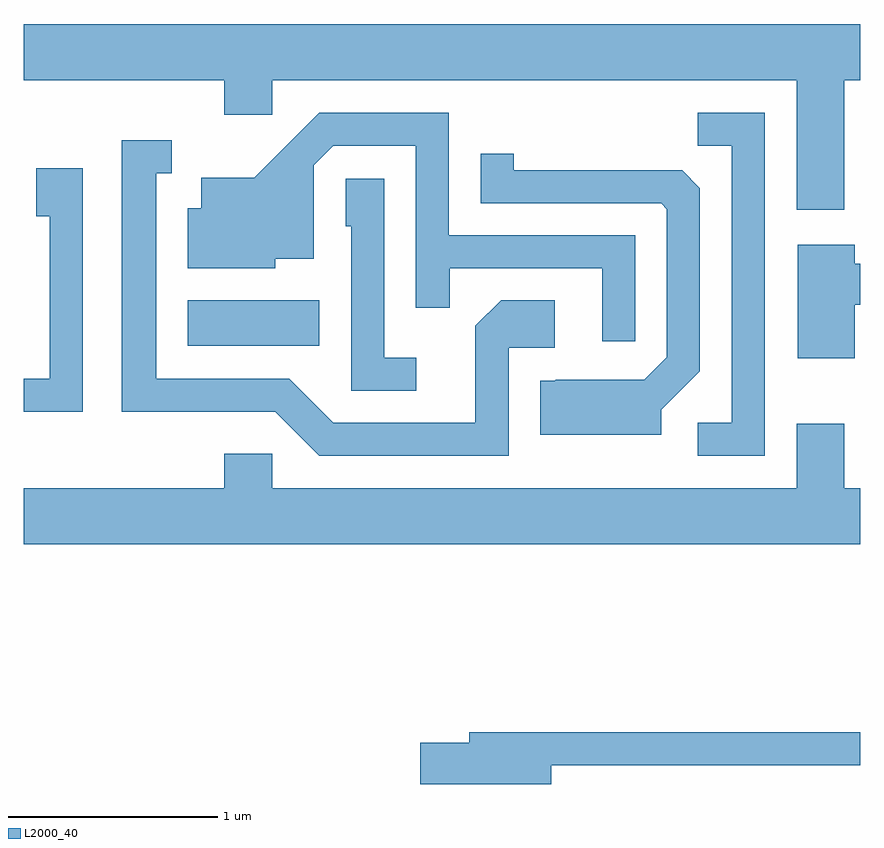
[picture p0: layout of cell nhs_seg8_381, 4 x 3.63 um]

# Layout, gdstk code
import gdstk
lib = gdstk.Library(unit=1e-6, precision=1e-09)
def R(c, l, rs):  # rectangles x0, y0, x1, y1
    for r in rs: c.add(gdstk.rectangle(r[:2], r[2:], *l))
def P(c, l, *ps):  # polygons
    for p in ps: c.add(gdstk.Polygon(p, *l))
L2000_40 = (2000, 40)

nhs_seg8_381 = lib.new_cell('nhs_seg8_381')
R(nhs_seg8_381, L2000_40, [(196.396,1890.646,197.024,1890.864)])
P(nhs_seg8_381, L2000_40, [(199.534,1891.916),(199.611,1891.916),(199.611,1892.184),(195.611,1892.184),(195.611,1891.916),(196.571,1891.916),(196.571,1891.751),(196.799,1891.751),(196.799,1891.916),(199.306,1891.916),(199.306,1891.296),(199.534,1891.296)],
  [(198.534,1891.174),(197.644,1891.174),(197.644,1891.759),(197.024,1891.759),(196.714,1891.449),(196.461,1891.449),(196.461,1891.304),(196.396,1891.304),(196.396,1891.016),(196.814,1891.016),(196.814,1891.061),(196.999,1891.061),(196.999,1891.509),(197.092,1891.601),(197.486,1891.601),(197.486,1890.828),(197.649,1890.828),(197.649,1891.016),(198.376,1891.016),(198.376,1890.668),(198.534,1890.668)],
  [(199.154,1891.759),(198.833,1891.759),(198.833,1891.601),(198.996,1891.601),(198.996,1890.279),(198.833,1890.279),(198.833,1890.121),(199.154,1890.121)],
  [(197.929,1890.636),(198.149,1890.636),(198.149,1890.864),(197.894,1890.864),(197.771,1890.742),(197.771,1890.279),(197.092,1890.279),(196.882,1890.489),(196.244,1890.489),(196.244,1891.471),(196.318,1891.471),(196.318,1891.629),(196.081,1891.629),(196.081,1890.331),(196.814,1890.331),(197.024,1890.121),(197.929,1890.121)],
  [(198.659,1890.339),(198.844,1890.524),(198.844,1891.399),(198.759,1891.484),(197.954,1891.484),(197.954,1891.563),(197.796,1891.563),(197.796,1891.326),(198.659,1891.326),(198.686,1891.299),(198.686,1890.592),(198.579,1890.484),(198.154,1890.484),(198.149,1890.479),(198.081,1890.479),(198.081,1890.221),(198.659,1890.221)],
  [(195.894,1891.494),(195.671,1891.494),(195.671,1891.266),(195.736,1891.266),(195.736,1890.489),(195.611,1890.489),(195.611,1890.331),(195.894,1890.331)],
  [(197.488,1890.589),(197.334,1890.589),(197.334,1891.444),(197.151,1891.444),(197.151,1891.216),(197.176,1891.216),(197.176,1890.431),(197.488,1890.431)],
  [(199.584,1890.841),(199.611,1890.841),(199.611,1891.039),(199.584,1891.039),(199.584,1891.129),(199.311,1891.129),(199.311,1890.586),(199.584,1890.586)],
  [(199.611,1889.964),(199.534,1889.964),(199.534,1890.274),(199.306,1890.274),(199.306,1889.964),(196.799,1889.964),(196.799,1890.129),(196.571,1890.129),(196.571,1889.964),(195.611,1889.964),(195.611,1889.696),(199.611,1889.696)],
  [(198.134,1888.641),(199.611,1888.641),(199.611,1888.799),(197.741,1888.799),(197.741,1888.749),(197.506,1888.749),(197.506,1888.551),(198.134,1888.551)])

lib.write_gds('nhs_seg8_381.gds')
